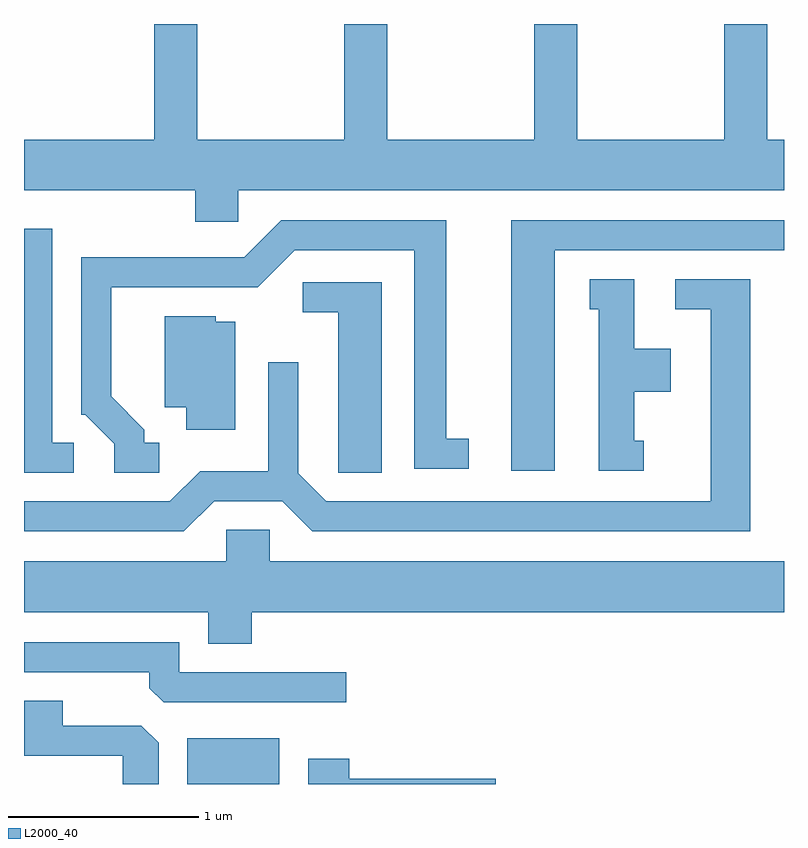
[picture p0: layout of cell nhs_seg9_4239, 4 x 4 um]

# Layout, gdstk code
import gdstk
lib = gdstk.Library(unit=1e-6, precision=1e-09)
def R(c, l, rs):  # rectangles x0, y0, x1, y1
    for r in rs: c.add(gdstk.rectangle(r[:2], r[2:], *l))
def P(c, l, *ps):  # polygons
    for p in ps: c.add(gdstk.Polygon(p, *l))
L2000_40 = (2000, 40)

nhs_seg9_4239 = lib.new_cell('nhs_seg9_4239')
R(nhs_seg9_4239, L2000_40, [(310.471,2026.432,310.954,2026.674)])
P(nhs_seg9_4239, L2000_40, [(310.739,2029.556),(313.611,2029.556),(313.611,2029.824),(313.524,2029.824),(313.524,2030.432),(313.296,2030.432),(313.296,2029.824),(312.524,2029.824),(312.524,2030.432),(312.296,2030.432),(312.296,2029.824),(311.524,2029.824),(311.524,2030.432),(311.296,2030.432),(311.296,2029.824),(310.524,2029.824),(310.524,2030.432),(310.296,2030.432),(310.296,2029.824),(309.611,2029.824),(309.611,2029.556),(310.511,2029.556),(310.511,2029.391),(310.739,2029.391)],
  [(312.404,2029.241),(313.611,2029.241),(313.611,2029.399),(312.176,2029.399),(312.176,2028.081),(312.404,2028.081)],
  [(310.323,2028.229),(310.244,2028.229),(310.244,2028.297),(310.069,2028.472),(310.069,2029.046),(310.842,2029.046),(311.037,2029.241),(311.666,2029.241),(311.666,2028.091),(311.953,2028.091),(311.953,2028.249),(311.834,2028.249),(311.834,2029.399),(310.964,2029.399),(310.769,2029.204),(309.911,2029.204),(309.911,2028.376),(309.934,2028.376),(310.086,2028.224),(310.086,2028.071),(310.323,2028.071)],
  [(309.873,2028.229),(309.759,2028.229),(309.759,2029.354),(309.611,2029.354),(309.611,2028.071),(309.873,2028.071)],
  [(312.873,2028.239),(312.824,2028.239),(312.824,2028.496),(313.014,2028.496),(313.014,2028.724),(312.824,2028.724),(312.824,2029.089),(312.588,2029.089),(312.588,2028.931),(312.636,2028.931),(312.636,2028.081),(312.873,2028.081)],
  [(310.612,2027.921),(310.969,2027.921),(311.129,2027.761),(313.434,2027.761),(313.434,2029.089),(313.038,2029.089),(313.038,2028.931),(313.226,2028.931),(313.226,2027.919),(311.202,2027.919),(311.054,2028.067),(311.054,2028.653),(310.896,2028.653),(310.896,2028.079),(310.539,2028.079),(310.379,2027.919),(309.611,2027.919),(309.611,2027.761),(310.452,2027.761)],
  [(311.494,2029.074),(311.078,2029.074),(311.078,2028.916),(311.266,2028.916),(311.266,2028.071),(311.494,2028.071)],
  [(310.724,2028.864),(310.619,2028.864),(310.619,2028.894),(310.351,2028.894),(310.351,2028.416),(310.466,2028.416),(310.466,2028.296),(310.724,2028.296)],
  [(310.809,2027.336),(313.611,2027.336),(313.611,2027.604),(310.904,2027.604),(310.904,2027.769),(310.676,2027.769),(310.676,2027.604),(309.611,2027.604),(309.611,2027.336),(310.581,2027.336),(310.581,2027.171),(310.809,2027.171)],
  [(311.308,2027.019),(310.429,2027.019),(310.429,2027.179),(309.611,2027.179),(309.611,2027.021),(310.271,2027.021),(310.271,2026.937),(310.347,2026.861),(311.308,2026.861)],
  [(310.319,2026.649),(310.229,2026.739),(309.814,2026.739),(309.814,2026.869),(309.611,2026.869),(309.611,2026.581),(310.131,2026.581),(310.131,2026.432),(310.319,2026.432)],
  [(312.094,2026.459),(311.324,2026.459),(311.324,2026.564),(311.106,2026.564),(311.106,2026.432),(312.094,2026.432)])

lib.write_gds('nhs_seg9_4239.gds')
